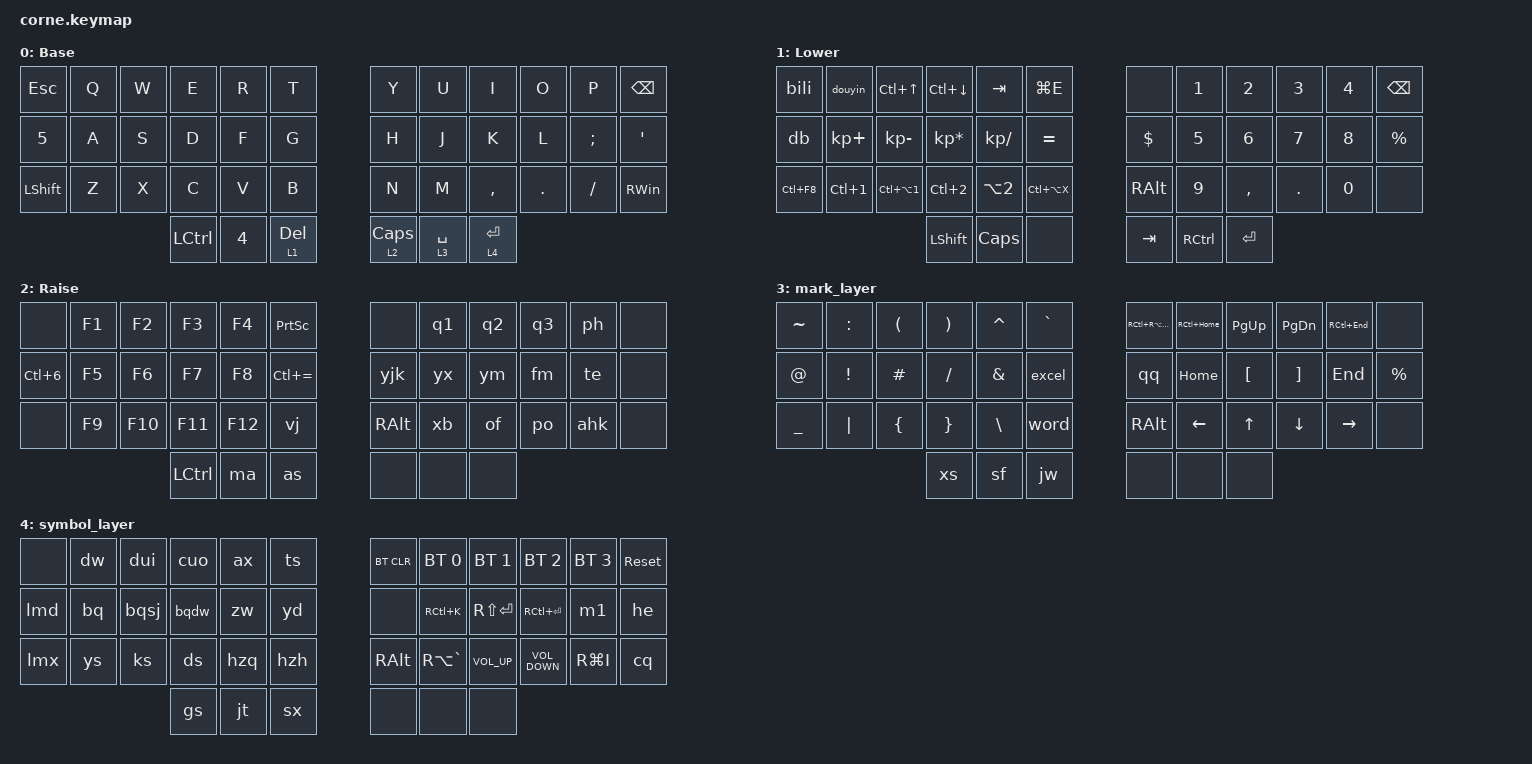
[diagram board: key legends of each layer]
/*
 * Copyright (c) 2020 The ZMK Contributors
 *
 * SPDX-License-Identifier: MIT
 */

#include <behaviors.dtsi>
#include <dt-bindings/zmk/bt.h>
#include <dt-bindings/zmk/keys.h>

/ {
    macros {
        dw: dw {
            compatible = "zmk,behavior-macro";
            #binding-cells = <0>;
            bindings = <&kp SLASH &kp SLASH &kp D &kp W>;
            label = "DW";
        };

        dui: dui {
            compatible = "zmk,behavior-macro";
            #binding-cells = <0>;
            bindings = <&kp SLASH &kp SLASH &kp D &kp U &kp I>;
            label = "DUI";
        };

        cuo: cuo {
            compatible = "zmk,behavior-macro";
            #binding-cells = <0>;
            bindings = <&kp SLASH &kp SLASH &kp C &kp U &kp O>;
            label = "CUO";
        };

        ys: xs {
            compatible = "zmk,behavior-macro";
            #binding-cells = <0>;
            bindings = <&kp SLASH &kp SLASH &kp Y &kp S>;
            label = "XS";
        };

        bq: bq {
            compatible = "zmk,behavior-macro";
            #binding-cells = <0>;
            bindings = <&kp SLASH &kp SLASH &kp B &kp Q>;
            label = "BQ";
        };

        bqsj: bqsj {
            compatible = "zmk,behavior-macro";
            #binding-cells = <0>;
            bindings = <&kp SLASH &kp SLASH &kp B &kp Q &kp S &kp J>;
            label = "BQSJ";
        };

        bqdw: bqdw {
            compatible = "zmk,behavior-macro";
            #binding-cells = <0>;
            bindings = <&kp SLASH &kp SLASH &kp B &kp Q &kp D &kp W>;
            label = "BQDW";
        };

        zw: zw {
            compatible = "zmk,behavior-macro";
            #binding-cells = <0>;
            bindings = <&kp SLASH &kp SLASH &kp Z &kp W>;
            label = "ZW";
        };

        gs: gs {
            compatible = "zmk,behavior-macro";
            #binding-cells = <0>;
            bindings = <&kp SLASH &kp SLASH &kp G &kp S>;
            label = "GS";
        };

        jt: jt {
            compatible = "zmk,behavior-macro";
            #binding-cells = <0>;
            bindings = <&kp SLASH &kp SLASH &kp J &kp T>;
            label = "JT";
        };

        sx: sx {
            compatible = "zmk,behavior-macro";
            #binding-cells = <0>;
            bindings = <&kp SLASH &kp SLASH &kp S &kp X>;
            label = "SX";
        };

        ahk: ahk {
            compatible = "zmk,behavior-macro";
            #binding-cells = <0>;
            bindings = <&kp SLASH &kp A &kp H &kp K &kp SPACE>;
            label = "AHK";
        };

        as: as {
            compatible = "zmk,behavior-macro";
            #binding-cells = <0>;
            bindings = <&kp SLASH &kp A &kp S &kp SPACE>;
            label = "AS";
        };

        bd: bd {
            compatible = "zmk,behavior-macro";
            #binding-cells = <0>;
            bindings = <&kp SLASH &kp B &kp D &kp SPACE>;
            label = "BD";
        };

        excel: excel {
            compatible = "zmk,behavior-macro";
            #binding-cells = <0>;
            bindings = <&kp SLASH &kp E &kp X &kp SPACE>;
            label = "EXCEL";
        };

        ma: ma {
            compatible = "zmk,behavior-macro";
            #binding-cells = <0>;
            bindings = <&kp SLASH &kp M &kp A &kp SPACE>;
            label = "MA";
        };

        of: mo {
            compatible = "zmk,behavior-macro";
            #binding-cells = <0>;
            bindings = <&kp SLASH &kp O &kp F &kp SPACE>;
            label = "MO";
        };

        po: po {
            compatible = "zmk,behavior-macro";
            #binding-cells = <0>;
            bindings = <&kp SLASH &kp P &kp O &kp SPACE>;
            label = "PO";
        };

        qq: qq {
            compatible = "zmk,behavior-macro";
            #binding-cells = <0>;
            bindings = <&kp SLASH &kp Q &kp Q &kp SPACE>;
            label = "QQ";
        };

        te: te {
            compatible = "zmk,behavior-macro";
            #binding-cells = <0>;
            bindings = <&kp SLASH &kp T &kp E &kp SPACE>;
            label = "TE";
        };

        vj: vj {
            compatible = "zmk,behavior-macro";
            #binding-cells = <0>;
            bindings = <&kp SLASH &kp V &kp J &kp SPACE>;
            label = "VJ";
        };

        fm: fm {
            compatible = "zmk,behavior-macro";
            #binding-cells = <0>;
            bindings = <&kp SLASH &kp F &kp M &kp SPACE>;
            label = "FM";
        };

        word: word {
            compatible = "zmk,behavior-macro";
            #binding-cells = <0>;
            bindings = <&kp SLASH &kp W &kp O &kp SPACE>;
            label = "WORD";
        };

        yjk: yjk {
            compatible = "zmk,behavior-macro";
            #binding-cells = <0>;
            bindings = <&kp SLASH &kp Y &kp J &kp K &kp SPACE>;
            label = "YJK";
        };

        ym: ym {
            compatible = "zmk,behavior-macro";
            #binding-cells = <0>;
            bindings = <&kp SLASH &kp Y &kp M &kp SPACE>;
            label = "YM";
        };

        jw: jw {
            compatible = "zmk,behavior-macro";
            #binding-cells = <0>;
            bindings = <&kp SLASH &kp J &kp W &kp SPACE>;
            label = "JW";
        };

        m1: m1 {
            compatible = "zmk,behavior-macro";
            #binding-cells = <0>;
            bindings = <&kp N1 &kp N9 &kp N9 &kp N1>;
            label = "M1";
        };

        q1: q1 {
            compatible = "zmk,behavior-macro";
            #binding-cells = <0>;
            bindings = <&kp N9 &kp N7 &kp N9 &kp N1 &kp N9 &kp N0 &kp N5 &kp N1 &kp N0>;
            label = "Q1";
        };

        q2: q2 {
            compatible = "zmk,behavior-macro";
            #binding-cells = <0>;
            bindings = <&kp N2 &kp N3 &kp N1 &kp N5 &kp N6 &kp N6 &kp N0 &kp N7 &kp N6 &kp N0>;
            label = "Q2";
        };

        q3: q3 {
            compatible = "zmk,behavior-macro";
            #binding-cells = <0>;
            bindings = <&kp N2 &kp N0 &kp N7 &kp N0 &kp N4 &kp N5 &kp N0 &kp N3 &kp N6>;
            label = "Q3";
        };

        yd: yd {
            compatible = "zmk,behavior-macro";
            #binding-cells = <0>;
            bindings = <&kp FSLH &kp FSLH &kp Y &kp D>;
            label = "YD";
        };

        ph: ph {
            compatible = "zmk,behavior-macro";
            #binding-cells = <0>;
            bindings = <&kp N1 &kp N7 &kp N8 &kp N5 &kp N8 &kp N5 &kp N8 &kp N3 &kp N9 &kp N8 &kp N0>;
            label = "PH";
        };

        yx: yx {
            compatible = "zmk,behavior-macro";
            #binding-cells = <0>;
            bindings = <&kp SLASH &kp Y &kp X &kp SPACE>;
            label = "YX";
        };

        ax: ax {
            compatible = "zmk,behavior-macro";
            #binding-cells = <0>;
            bindings = <&kp SLASH &kp SLASH &kp A &kp X>;
            label = "AX";
        };

        xs: yss {
            compatible = "zmk,behavior-macro";
            #binding-cells = <0>;
            bindings = <&kp SLASH &kp X &kp S &kp SPACE>;
            label = "YSS";
        };

        xb: xb {
            compatible = "zmk,behavior-macro";
            #binding-cells = <0>;
            bindings = <&kp SLASH &kp X &kp B &kp SPACE>;
            label = "XB";
        };

        sf: js {
            compatible = "zmk,behavior-macro";
            #binding-cells = <0>;
            bindings = <&kp SLASH &kp S &kp F &kp SPACE>;
            label = "JS";
        };

        lmd: ld {
            compatible = "zmk,behavior-macro";
            #binding-cells = <0>;
            bindings = <&kp FSLH &kp FSLH &kp L &kp M &kp D>;
            label = "LD";
        };

        ks: ks {
            compatible = "zmk,behavior-macro";
            #binding-cells = <0>;
            bindings = <&kp FSLH &kp FSLH &kp K &kp S>;
            label = "KS";
        };

        ds: ds {
            compatible = "zmk,behavior-macro";
            #binding-cells = <0>;
            bindings = <&kp FSLH &kp FSLH &kp D &kp S>;
            label = "DS";
        };

        lmx: lx {
            compatible = "zmk,behavior-macro";
            #binding-cells = <0>;
            bindings = <&kp FSLH &kp FSLH &kp L &kp M &kp X>;
            label = "LX";
        };

        hzq: hzq {
            compatible = "zmk,behavior-macro";
            #binding-cells = <0>;
            bindings = <&kp FSLH &kp FSLH &kp H &kp Z &kp Q>;
            label = "HZQ";
        };

        ts: ts {
            compatible = "zmk,behavior-macro";
            #binding-cells = <0>;
            bindings = <&kp FSLH &kp FSLH &kp T &kp S>;
            label = "TS";
        };

        he: he {
            compatible = "zmk,behavior-macro";
            #binding-cells = <0>;
            bindings = <&kp FSLH &kp H &kp E>;
            label = "HE";
        };

        cq: lm {
            compatible = "zmk,behavior-macro";
            #binding-cells = <0>;
            bindings = <&kp FSLH &kp C &kp Q>;
            label = "LM";
        };

        hzh: hzh {
            compatible = "zmk,behavior-macro";
            #binding-cells = <0>;
            bindings = <&kp FSLH &kp FSLH &kp H &kp Z &kp H>;
            label = "HZH";
        };

        douyin: douyin {
            compatible = "zmk,behavior-macro";
            #binding-cells = <0>;
            bindings = <&kp SLASH &kp D &kp Y>;
            label = "DOUYIN";
        };

        bili: bili {
            compatible = "zmk,behavior-macro";
            #binding-cells = <0>;
            bindings = <&kp SLASH &kp B &kp I>;
            label = "BILI";
        };

        db: db {
            compatible = "zmk,behavior-macro";
            #binding-cells = <0>;
            bindings = <&kp SLASH &kp D &kp B>;
            label = "DB";
        };
    };

    combos { compatible = "zmk,combos"; };

    keymap {
        compatible = "zmk,keymap";

        default_layer {
            // -----------------------------------------------------------------------------------------
            // |  TAB |  Q  |  W  |  E  |  R  |  T  |   |  Y  |  U   |  I  |  O  |  P  | BKSP |
            // | CTRL |  A  |  S  |  D  |  F  |  G  |   |  H  |  J   |  K  |  L  |  ;  |  '   |
            // | SHFT |  Z  |  X  |  C  |  V  |  B  |   |  N  |  M   |  ,  |  .  |  /  | ESC  |
            //                    | GUI | LWR | SPC |   | ENT | RSE  | ALT |

            display-name = "Base";
            bindings = <
&kp ESC    &kp Q  &kp W  &kp E      &kp R   &kp T        &kp Y       &kp U        &kp I        &kp O    &kp P     &kp BSPC
&kp N5     &kp A  &kp S  &kp D      &kp F   &kp G        &kp H       &kp J        &kp K        &kp L    &kp SEMI  &kp SQT
&kp LSHFT  &kp Z  &kp X  &kp C      &kp V   &kp B        &kp N       &kp M        &kp COMMA    &kp DOT  &kp FSLH  &kp RIGHT_WIN
                         &kp LCTRL  &kp N4  &lt 1 DEL    &lt 2 CAPS  &lt 3 SPACE  &lt 4 ENTER
            >;
        };

        lower_layer {
            // -----------------------------------------------------------------------------------------
            // |  TAB |  1  |  2  |  3  |  4  |  5  |   |  6  |  7  |  8  |  9  |  0  | BKSP |
            // | BTCLR| BT1 | BT2 | BT3 | BT4 | BT5 |   | LFT | DWN |  UP | RGT |     |      |
            // | SHFT |     |     |     |     |     |   |     |     |     |     |     |      |
            //                    | GUI |     | SPC |   | ENT |     | ALT |

            display-name = "Lower";
            bindings = <
&bili       &douyin      &kp LC(UP)      &kp LC(DOWN)     &kp TAB           &kp LG(E)        &none          &kp N1     &kp N2     &kp N3      &kp N4  &kp BSPC
&db         &kp KP_PLUS  &kp KP_MINUS    &kp KP_MULTIPLY  &kp KP_SLASH      &kp EQUAL        &kp DOLLAR     &kp N5     &kp N6     &kp N7      &kp N8  &kp PERCENT
&kp LC(F8)  &kp LC(N1)   &kp LC(LA(N1))  &kp LC(N2)       &kp LA(NUMBER_2)  &kp LC(LA(X))    &kp RIGHT_ALT  &kp N9     &kp COMMA  &kp PERIOD  &kp N0  &none
                                         &kp LEFT_SHIFT   &kp CAPSLOCK      &none            &kp TAB        &kp RCTRL  &kp ENTER
            >;
        };

        raise_layer {
            // -----------------------------------------------------------------------------------------
            // |  TAB |  !  |  @  |  #  |  $  |  %  |   |  ^  |  &  |  *  |  (  |  )  | BKSP |
            // | CTRL |     |     |     |     |     |   |  -  |  =  |  [  |  ]  |  \  |  `   |
            // | SHFT |     |     |     |     |     |   |  _  |  +  |  {  |  }  | "|" |  ~   |
            //                    | GUI |     | SPC |   | ENT |     | ALT |

            display-name = "Raise";
            bindings = <
&none             &kp F1  &kp F2   &kp F3     &kp F4   &kp PSCRN        &none          &q1    &q2    &q3  &ph   &none
&kp LC(NUMBER_6)  &kp F5  &kp F6   &kp F7     &kp F8   &kp LC(EQUAL)    &yjk           &yx    &ym    &fm  &te   &none
&none             &kp F9  &kp F10  &kp F11    &kp F12  &vj              &kp RIGHT_ALT  &xb    &of    &po  &ahk  &none
                                   &kp LCTRL  &ma      &as              &none          &none  &none
            >;
        };

        mark_layer {
            bindings = <
&kp TILDE  &kp COLON        &kp LEFT_PARENTHESIS  &kp RIGHT_PARENTHESIS  &kp CARET      &kp GRAVE    &kp RC(RA(DEL))  &kp RC(HOME)  &kp PG_UP         &kp PG_DN          &kp RC(END)      &none
&kp AT     &kp EXCLAMATION  &kp HASH              &kp SLASH              &kp AMPERSAND  &excel       &qq              &kp HOME      &kp LEFT_BRACKET  &kp RIGHT_BRACKET  &kp END          &kp PERCENT
&kp UNDER  &kp PIPE         &kp LEFT_BRACE        &kp RIGHT_BRACE        &kp BACKSLASH  &word        &kp RIGHT_ALT    &kp LEFT      &kp UP_ARROW      &kp DOWN_ARROW     &kp RIGHT_ARROW  &none
                                                  &xs                    &sf            &jw          &none            &none         &none
            >;
        };

        symbol_layer {
            bindings = <
&none  &dw  &dui   &cuo   &ax   &ts     &bt BT_CLR     &bt BT_SEL 0   &bt BT_SEL 1     &bt BT_SEL 2       &bt BT_SEL 3  &sys_reset
&lmd   &bq  &bqsj  &bqdw  &zw   &yd     &none          &kp RC(K)      &kp RS(ENTER)    &kp RC(ENTER)      &m1           &he
&lmx   &ys  &ks    &ds    &hzq  &hzh    &kp RIGHT_ALT  &kp RA(GRAVE)  &kp C_VOLUME_UP  &kp C_VOLUME_DOWN  &kp RG(I)     &cq
                   &gs    &jt   &sx     &none          &none          &none
            >;
        };
    };
};
